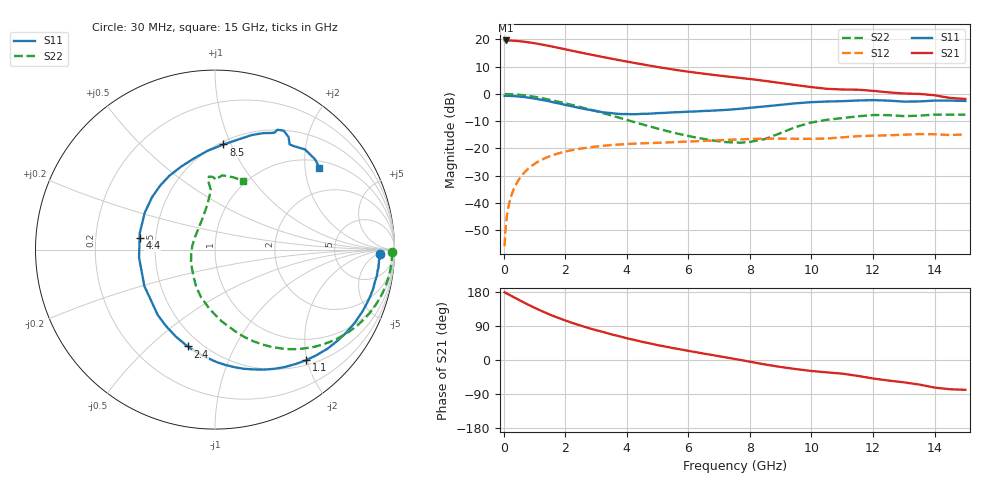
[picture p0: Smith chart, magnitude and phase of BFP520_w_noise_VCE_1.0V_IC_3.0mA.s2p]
! Infineon Technologies  Discrete & RF Semiconductors
! BFP520
! VCE =  1.0 V,  IC =  3.0 mA
! Common Emitter S-Parameters:  Oct 2015
# GHz  S  MA  R  50
!  f  S11  S21  S12  S22
! GHz  MAG  ANG  MAG  ANG  MAG  ANG  MAG  ANG
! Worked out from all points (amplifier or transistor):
!   109 points, 30 MHz to 15 GHz, reference 50 ohm
!   highest |S21| = 19.6 dB at 70 MHz (marker M1)
!   |S21| within 3 dB of that: start of sweep to 1.898 GHz
!   unconditionally stable (mu >= 1): 4.61 GHz to end of sweep
!   at 450 MHz: K = 0.08, MSG = 25.8 dB, |S12| = -32.3 dB
!   at 4 GHz: K = 0.88, MSG = 15.1 dB, |S12| = -18.4 dB
!   at 15 GHz: K = 1.53, MAG = 2.2 dB, |S12| = -14.9 dB
!   lowest NFmin = 1.02 dB at 900 MHz
!   S11 on the Smith chart (normalised r, x): 30 MHz: 21, -6; 1.1 GHz: 0.58, -1.99; 2.4 GHz: 0.42, -0.67; 4.4 GHz: 0.41, +0.06; 8.5 GHz: 0.52, +0.94; 15 GHz: 1.19, +2.38
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0.03  0.9174 -1.4  9.5 178.6  0.0016 93.0  0.9862 -0.9
0.07  0.9175 -3.3  9.514 176.5  0.0038 89.1  0.987 -2.2
0.15  0.9141 -7.0  9.466 173.3  0.0082 85.9  0.9853 -4.8
0.35  0.9042 -16.2  9.376 164.8  0.0191 81.4  0.9738 -11.2
0.6  0.8784 -27.8  9.111 154.1  0.0323 75.0  0.9463 -19.1
0.8  0.8499 -36.9  8.796 145.8  0.0423 69.9  0.9157 -25.2
1.1  0.7991 -50.4  8.273 134.2  0.0561 62.6  0.8592 -33.8
1.3  0.7611 -59.3  7.895 126.9  0.0643 58.1  0.8177 -39.2
1.6  0.7006 -72.3  7.303 116.6  0.0751 51.7  0.7527 -46.7
2  0.6271 -89.1  6.553 104.4  0.087 44.3  0.6689 -55.6
2.4  0.5608 -105.8  5.874 93.4  0.0966 37.8  0.5893 -63.7
2.6  0.5314 -114.3  5.562 88.2  0.1006 34.8  0.5516 -67.5
3  0.4843 -131.2  5.01 78.7  0.1077 29.3  0.4799 -75.0
3.5  0.443 -152.7  4.415 67.6  0.1147 23.1  0.4005 -84.8
4.4  0.425 171.2  3.553 50.0  0.1226 13.8  0.2855 -104.0
5.1  0.4434 149.8  3.038 37.8  0.1268 8.2  0.2222 -119.2
6.1  0.4715 128.8  2.5 22.7  0.1337 1.6  0.1638 -141.9
7.6  0.526 101.3  1.977 1.4  0.1451 -8.5  0.1275 167.1
8.5  0.5876 85.4  1.72 -11.9  0.1502 -15.5  0.1483 128.6
10.5  0.7217 64.2  1.233 -32.7  0.1512 -25.3  0.3328 94.0
13  0.719 54.7  1.012 -58.9  0.1772 -41.9  0.3895 89.1
15  0.7379 38.0  0.805 -78.6  0.1795 -55.9  0.4139 67.6
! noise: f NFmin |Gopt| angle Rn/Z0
0.45  1.06  0.59  3  0.37
0.9  1.02  0.55  12  0.38
1.9  1.29  0.46  25  0.32
2.4  1.36  0.42  36  0.31
3.5  1.32  0.41  61  0.28
